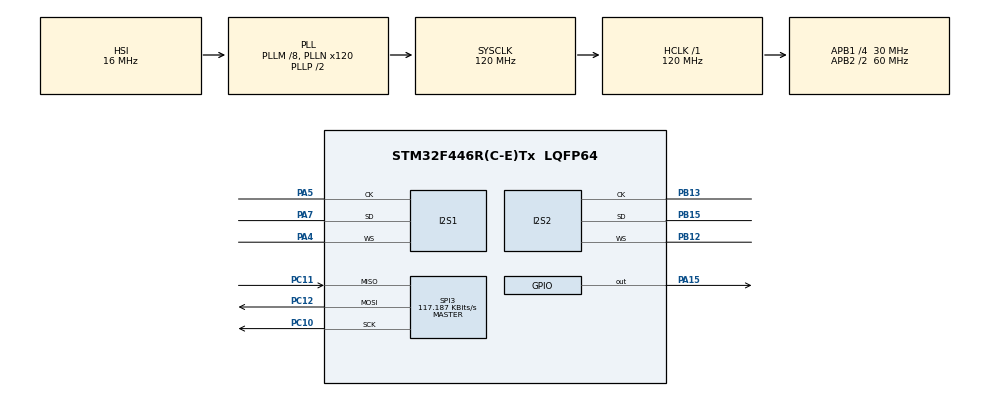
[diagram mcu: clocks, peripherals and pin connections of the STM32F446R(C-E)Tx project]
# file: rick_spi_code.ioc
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Dma.Request0=SPI2_RX
Dma.Request1=SPI1_TX
Dma.SPI1_TX.1.Direction=DMA_MEMORY_TO_PERIPH
Dma.SPI1_TX.1.FIFOMode=DMA_FIFOMODE_DISABLE
Dma.SPI1_TX.1.Instance=DMA2_Stream3
Dma.SPI1_TX.1.MemDataAlignment=DMA_MDATAALIGN_HALFWORD
Dma.SPI1_TX.1.MemInc=DMA_MINC_ENABLE
Dma.SPI1_TX.1.Mode=DMA_CIRCULAR
Dma.SPI1_TX.1.PeriphDataAlignment=DMA_PDATAALIGN_HALFWORD
Dma.SPI1_TX.1.PeriphInc=DMA_PINC_DISABLE
Dma.SPI1_TX.1.Priority=DMA_PRIORITY_LOW
Dma.SPI2_RX.0.Direction=DMA_PERIPH_TO_MEMORY
Dma.SPI2_RX.0.FIFOMode=DMA_FIFOMODE_DISABLE
Dma.SPI2_RX.0.Instance=DMA1_Stream3
Dma.SPI2_RX.0.MemDataAlignment=DMA_MDATAALIGN_HALFWORD
Dma.SPI2_RX.0.MemInc=DMA_MINC_ENABLE
Dma.SPI2_RX.0.Mode=DMA_CIRCULAR
Dma.SPI2_RX.0.PeriphDataAlignment=DMA_PDATAALIGN_HALFWORD
Dma.SPI2_RX.0.PeriphInc=DMA_PINC_DISABLE
Dma.SPI2_RX.0.Priority=DMA_PRIORITY_LOW
I2S1.AudioFreq=I2S_AUDIOFREQ_44K
I2S1.ErrorAudioFreq=0.26 %
I2S1.FullDuplexMode=I2S_FULLDUPLEXMODE_DISABLE
I2S1.Instance=SPI$Index
I2S1.RealAudioFreq=44.117 KHz
I2S1.VirtualMode=I2S_MODE_MASTER
I2S2.AudioFreq=I2S_AUDIOFREQ_44K
I2S2.DataFormat=I2S_DATAFORMAT_16B_EXTENDED
I2S2.ErrorAudioFreq=0.26 %
I2S2.FullDuplexMode=I2S_FULLDUPLEXMODE_DISABLE
I2S2.Instance=SPI$Index
I2S2.Mode=I2S_MODE_MASTER_RX
I2S2.RealAudioFreq=44.117 KHz
I2S2.VirtualMode=I2S_MODE_MASTER
Mcu.Family=STM32F4
Mcu.Name=STM32F446R(C-E)Tx
Mcu.Package=LQFP64
NVIC.DMA1_Stream3_IRQn=true\:0\:0\:false\:false\:true\:false\:true\:true
NVIC.DMA2_Stream3_IRQn=true\:0\:0\:false\:false\:true\:false\:true\:true
NVIC.PriorityGroup=NVIC_PRIORITYGROUP_4
PA15.Signal=GPIO_Output
PA4.Mode=Half_Duplex_Master
PA4.Signal=I2S1_WS
PA5.Mode=Half_Duplex_Master
PA5.Signal=I2S1_CK
PA7.Mode=Half_Duplex_Master
PA7.Signal=I2S1_SD
PB12.Mode=Half_Duplex_Master
PB12.Signal=I2S2_WS
PB13.Mode=Half_Duplex_Master
PB13.Signal=I2S2_CK
PB15.Mode=Half_Duplex_Master
PB15.Signal=I2S2_SD
PC10.Mode=Full_Duplex_Master
PC10.Signal=SPI3_SCK
PC11.Mode=Full_Duplex_Master
PC11.Signal=SPI3_MISO
PC12.Mode=Full_Duplex_Master
PC12.Signal=SPI3_MOSI
ProjectManager.HeapSize=0x200
ProjectManager.StackSize=0x400
ProjectManager.TargetToolchain=STM32CubeIDE
RCC.AHBFreq_Value=120000000
RCC.APB1CLKDivider=RCC_HCLK_DIV4
RCC.APB1Freq_Value=30000000
RCC.APB1TimFreq_Value=60000000
RCC.APB2CLKDivider=RCC_HCLK_DIV2
RCC.APB2Freq_Value=60000000
RCC.APB2TimFreq_Value=120000000
RCC.CortexFreq_Value=120000000
RCC.HCLKFreq_Value=120000000
RCC.PLLM=8
RCC.PLLN=120
RCC.SYSCLKFreq_VALUE=120000000
RCC.SYSCLKSource=RCC_SYSCLKSOURCE_PLLCLK
RCC.USBFreq_Value=120000000
RCC.VCOOutputFreq_Value=240000000
SPI3.BaudRatePrescaler=SPI_BAUDRATEPRESCALER_256
SPI3.CalculateBaudRate=117.187 KBits/s
SPI3.Direction=SPI_DIRECTION_2LINES
SPI3.Mode=SPI_MODE_MASTER
SPI3.VirtualType=VM_MASTER
board=custom

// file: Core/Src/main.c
/* USER CODE BEGIN Header */
/**
  ******************************************************************************
  * @file           : main.c
  * @brief          : Main program body
  ******************************************************************************
  * @attention
  *
  * Copyright (c) 2023 STMicroelectronics.
  * All rights reserved.
  *
  * This software is licensed under terms that can be found in the LICENSE file
  * in the root directory of this software component.
  * If no LICENSE file comes with this software, it is provided AS-IS.
  *
  ******************************************************************************
  */
/* USER CODE END Header */
#include "main.h"

/* USER CODE BEGIN Includes */
#include "ff.h"
#include "ffconf.h"
#include "diskio.h"
#include "stdio.h"
/* USER CODE END Includes */

I2S_HandleTypeDef hi2s1;
I2S_HandleTypeDef hi2s2;
DMA_HandleTypeDef hdma_spi1_tx;
DMA_HandleTypeDef hdma_spi2_rx;

SPI_HandleTypeDef hspi3;

/* USER CODE BEGIN PV */
static FRESULT sd_result;
static FATFS sdCard;

int16_t data_i2s[100];
volatile int16_t sample_i2s;
/* USER CODE END PV */

void SystemClock_Config(void);
void PeriphCommonClock_Config(void);
static void MX_GPIO_Init(void);
static void MX_DMA_Init(void);
static void MX_SPI3_Init(void);
static void MX_I2S1_Init(void);
static void MX_I2S2_Init(void);

int main(void)
{

  /* MCU Configuration--------------------------------------------------------*/

  /* Reset of all peripherals, Initializes the Flash interface and the Systick. */
  HAL_Init();

  /* Configure the system clock */
  SystemClock_Config();

/* Configure the peripherals common clocks */
  PeriphCommonClock_Config();

  /* Initialize all configured peripherals */
  MX_GPIO_Init();
  MX_DMA_Init();
  MX_SPI3_Init();
  MX_I2S1_Init();
  MX_I2S2_Init();
  /* USER CODE BEGIN 2 */
  HAL_Delay(1000);
  printf("Hello\n");

//  init_sdcard_spi();
  HAL_I2S_Receive_DMA(&hi2s2, (uint16_t *)data_i2s, sizeof(data_i2s)/2);
  HAL_I2S_Transmit_DMA(&hi2s1, (uint16_t *)data_i2s, sizeof(data_i2s)/2);

  /* USER CODE END 2 */

  /* Infinite loop */
  while (1)
  {

  }
}

void SystemClock_Config(void)
{
  RCC_OscInitTypeDef RCC_OscInitStruct = {0};
  RCC_ClkInitTypeDef RCC_ClkInitStruct = {0};

  /** Configure the main internal regulator output voltage
  */
  __HAL_RCC_PWR_CLK_ENABLE();
  __HAL_PWR_VOLTAGESCALING_CONFIG(PWR_REGULATOR_VOLTAGE_SCALE3);

  /** Initializes the RCC Oscillators according to the specified parameters
  * in the RCC_OscInitTypeDef structure.
  */
  RCC_OscInitStruct.OscillatorType = RCC_OSCILLATORTYPE_HSI;
  RCC_OscInitStruct.HSIState = RCC_HSI_ON;
  RCC_OscInitStruct.HSICalibrationValue = RCC_HSICALIBRATION_DEFAULT;
  RCC_OscInitStruct.PLL.PLLState = RCC_PLL_ON;
  RCC_OscInitStruct.PLL.PLLSource = RCC_PLLSOURCE_HSI;
  RCC_OscInitStruct.PLL.PLLM = 8;
  RCC_OscInitStruct.PLL.PLLN = 120;
  RCC_OscInitStruct.PLL.PLLP = RCC_PLLP_DIV2;
  RCC_OscInitStruct.PLL.PLLQ = 2;
  RCC_OscInitStruct.PLL.PLLR = 2;
  if (HAL_RCC_OscConfig(&RCC_OscInitStruct) != HAL_OK)
  {
    Error_Handler();
  }

  /** Initializes the CPU, AHB and APB buses clocks
  */
  RCC_ClkInitStruct.ClockType = RCC_CLOCKTYPE_HCLK|RCC_CLOCKTYPE_SYSCLK
                              |RCC_CLOCKTYPE_PCLK1|RCC_CLOCKTYPE_PCLK2;
  RCC_ClkInitStruct.SYSCLKSource = RCC_SYSCLKSOURCE_PLLCLK;
  RCC_ClkInitStruct.AHBCLKDivider = RCC_SYSCLK_DIV1;
  RCC_ClkInitStruct.APB1CLKDivider = RCC_HCLK_DIV4;
  RCC_ClkInitStruct.APB2CLKDivider = RCC_HCLK_DIV2;

  if (HAL_RCC_ClockConfig(&RCC_ClkInitStruct, FLASH_LATENCY_3) != HAL_OK)
  {
    Error_Handler();
  }
}

void PeriphCommonClock_Config(void)
{
  RCC_PeriphCLKInitTypeDef PeriphClkInitStruct = {0};

  /** Initializes the peripherals clock
  */
  PeriphClkInitStruct.PeriphClockSelection = RCC_PERIPHCLK_I2S_APB1|RCC_PERIPHCLK_I2S_APB2;
  PeriphClkInitStruct.PLLI2S.PLLI2SN = 192;
  PeriphClkInitStruct.PLLI2S.PLLI2SP = RCC_PLLI2SP_DIV2;
  PeriphClkInitStruct.PLLI2S.PLLI2SM = 16;
  PeriphClkInitStruct.PLLI2S.PLLI2SR = 2;
  PeriphClkInitStruct.PLLI2S.PLLI2SQ = 2;
  PeriphClkInitStruct.PLLI2SDivQ = 1;
  PeriphClkInitStruct.I2sApb2ClockSelection = RCC_I2SAPB2CLKSOURCE_PLLI2S;
  PeriphClkInitStruct.I2sApb1ClockSelection = RCC_I2SAPB1CLKSOURCE_PLLI2S;
  if (HAL_RCCEx_PeriphCLKConfig(&PeriphClkInitStruct) != HAL_OK)
  {
    Error_Handler();
  }
}

static void MX_I2S1_Init(void)
{

  hi2s1.Instance = SPI1;
  hi2s1.Init.Mode = I2S_MODE_MASTER_TX;
  hi2s1.Init.Standard = I2S_STANDARD_PHILIPS;
  hi2s1.Init.DataFormat = I2S_DATAFORMAT_16B;
  hi2s1.Init.MCLKOutput = I2S_MCLKOUTPUT_DISABLE;
  hi2s1.Init.AudioFreq = I2S_AUDIOFREQ_44K;
  hi2s1.Init.CPOL = I2S_CPOL_LOW;
  hi2s1.Init.ClockSource = I2S_CLOCK_PLL;
  hi2s1.Init.FullDuplexMode = I2S_FULLDUPLEXMODE_DISABLE;
  if (HAL_I2S_Init(&hi2s1) != HAL_OK)
  {
    Error_Handler();
  }

}

static void MX_I2S2_Init(void)
{

  hi2s2.Instance = SPI2;
  hi2s2.Init.Mode = I2S_MODE_MASTER_RX;
  hi2s2.Init.Standard = I2S_STANDARD_PHILIPS;
  hi2s2.Init.DataFormat = I2S_DATAFORMAT_16B_EXTENDED;
  hi2s2.Init.MCLKOutput = I2S_MCLKOUTPUT_DISABLE;
  hi2s2.Init.AudioFreq = I2S_AUDIOFREQ_44K;
  hi2s2.Init.CPOL = I2S_CPOL_LOW;
  hi2s2.Init.ClockSource = I2S_CLOCK_PLL;
  hi2s2.Init.FullDuplexMode = I2S_FULLDUPLEXMODE_DISABLE;
  if (HAL_I2S_Init(&hi2s2) != HAL_OK)
  {
    Error_Handler();
  }

}

static void MX_SPI3_Init(void)
{

  /* SPI3 parameter configuration*/
  hspi3.Instance = SPI3;
  hspi3.Init.Mode = SPI_MODE_MASTER;
  hspi3.Init.Direction = SPI_DIRECTION_2LINES;
  hspi3.Init.DataSize = SPI_DATASIZE_8BIT;
  hspi3.Init.CLKPolarity = SPI_POLARITY_LOW;
  hspi3.Init.CLKPhase = SPI_PHASE_1EDGE;
  hspi3.Init.NSS = SPI_NSS_SOFT;
  hspi3.Init.BaudRatePrescaler = SPI_BAUDRATEPRESCALER_256;
  hspi3.Init.FirstBit = SPI_FIRSTBIT_MSB;
  hspi3.Init.TIMode = SPI_TIMODE_DISABLE;
  hspi3.Init.CRCCalculation = SPI_CRCCALCULATION_DISABLE;
  hspi3.Init.CRCPolynomial = 10;
  if (HAL_SPI_Init(&hspi3) != HAL_OK)
  {
    Error_Handler();
  }

}

static void MX_DMA_Init(void)
{

  /* DMA controller clock enable */
  __HAL_RCC_DMA1_CLK_ENABLE();
  __HAL_RCC_DMA2_CLK_ENABLE();

  /* DMA interrupt init */
  /* DMA1_Stream3_IRQn interrupt configuration */
  HAL_NVIC_SetPriority(DMA1_Stream3_IRQn, 0, 0);
  HAL_NVIC_EnableIRQ(DMA1_Stream3_IRQn);
  /* DMA2_Stream3_IRQn interrupt configuration */
  HAL_NVIC_SetPriority(DMA2_Stream3_IRQn, 0, 0);
  HAL_NVIC_EnableIRQ(DMA2_Stream3_IRQn);

}

static void MX_GPIO_Init(void)
{
  GPIO_InitTypeDef GPIO_InitStruct = {0};

  /* GPIO Ports Clock Enable */
  __HAL_RCC_GPIOA_CLK_ENABLE();
  __HAL_RCC_GPIOB_CLK_ENABLE();
  __HAL_RCC_GPIOC_CLK_ENABLE();

  /*Configure GPIO pin Output Level */
  HAL_GPIO_WritePin(GPIOA, GPIO_PIN_15, GPIO_PIN_RESET);

  /*Configure GPIO pin : PA15 */
  GPIO_InitStruct.Pin = GPIO_PIN_15;
  GPIO_InitStruct.Mode = GPIO_MODE_OUTPUT_PP;
  GPIO_InitStruct.Pull = GPIO_NOPULL;
  GPIO_InitStruct.Speed = GPIO_SPEED_FREQ_LOW;
  HAL_GPIO_Init(GPIOA, &GPIO_InitStruct);

}

/* USER CODE BEGIN 4 */
void init_sdcard_spi(void) {
	sd_result = f_mount(&sdCard, "", 1);

	if(sd_result != 0){
		printf("Error mounting SD Card: %d\n", sd_result);
		while(1);
	}
	else{
		printf("SD Card mounted successfully\n");
	}
}

void sdcard_high_speed(void) {
	printf("sdcard_high_speed() not implemented.\n");
}

void enable_sdcard(void) {
	printf("enable_sdcard() not implemented.\n");
}

void disable_sdcard(void) {
	printf("disable_sdcard() not implemented.\n");
}

int _write(int file, char *ptr, int len)
{
  (void)file;
  int DataIdx;

  for (DataIdx = 0; DataIdx < len; DataIdx++)
  {
    ITM_SendChar(*ptr++);
  }
  return len;
}
/* USER CODE END 4 */

void Error_Handler(void)
{
  __disable_irq();
  while (1)
  {
  }
}
